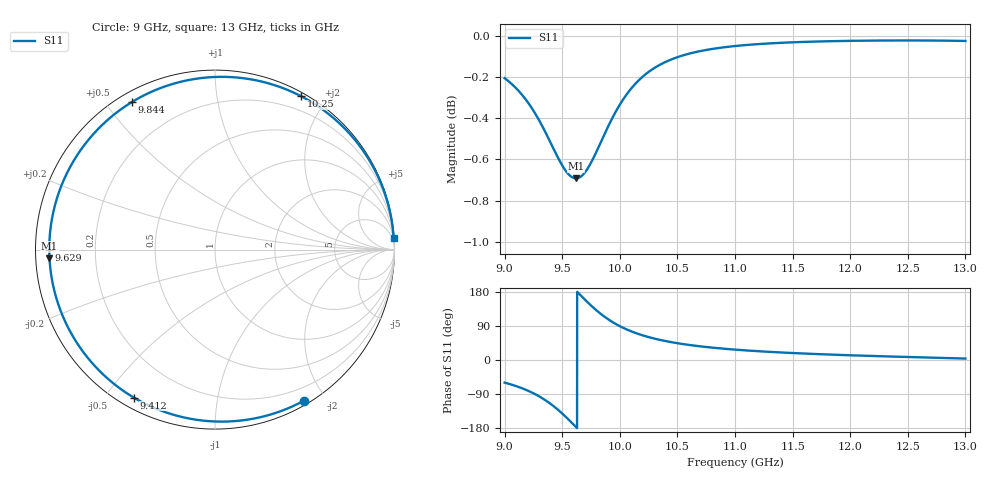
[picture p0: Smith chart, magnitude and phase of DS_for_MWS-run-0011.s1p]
! TOUCHSTONE file generated by CST DESIGN STUDIO
! Date and time: Tue Feb  4 12:48:05 2025
! Project name: C:\Work\MatlabApps\UnitCellOptimizationMatlab\CST\unitcell.cst
! Tree item: Tasks\Sweep1\SPara1\S-Parameters
! Header version: 2024
! Port assignment regex: !\s*Touchstone port\s*([0-9]+)\s*=\s*(CST MWS port|CST DES external port|CST DES block port)\s*(.+)\s* \(\"(.*)\"\)(\s*mode\s*([0-9]+))?.*
! Touchstone port assignment:
! Touchstone port 1 = CST DES external port 1 ("")
# GHz S MA R 50
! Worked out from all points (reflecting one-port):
!   4001 points, 9 GHz to 13 GHz, reference 50 ohm
!   lowest |S11| = -0.7 dB at 9.62 GHz (marker M1), VSWR 25.10, Z = 1.99 - j1.32 ohm
!   phase of S11 starts at -60 deg and turns -297 deg over the sweep
!   S11 on the Smith chart (normalised r, x): 9 GHz: 0.05, -1.74; 9.412 GHz: 0.04, -0.59; 9.629 GHz: 0.04, -0.00; 9.844 GHz: 0.04, +0.58; 10.25 GHz: 0.04, +1.70; 13 GHz: 1, +30
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9  0.9767 -59.7
9.057  0.9737 -64.6
9.131  0.9691 -72.2
9.195  0.9641 -80.0
9.257  0.9584 -88.9
9.34  0.9492 -103.4
9.412  0.9404 -118.7
9.456  0.935 -129.4
9.5  0.9301 -141.1
9.563  0.925 -159.4
9.62  0.9234 -177.0
9.629  0.9234 -179.8
9.674  0.9249 166.3
9.721  0.9285 152.1
9.783  0.9354 134.7
9.844  0.9434 119.5
9.916  0.9528 104.0
10  0.9623 89.3
10.117  0.9723 73.5
10.246  0.9799 60.8
10.364  0.9845 52.1
10.5  0.9882 44.3
10.72  0.9918 35.3
11  0.9944 27.4
11.5  0.9964 18.4
12  0.9973 12.5
12.5  0.9975 7.9
13  0.9972 3.8
